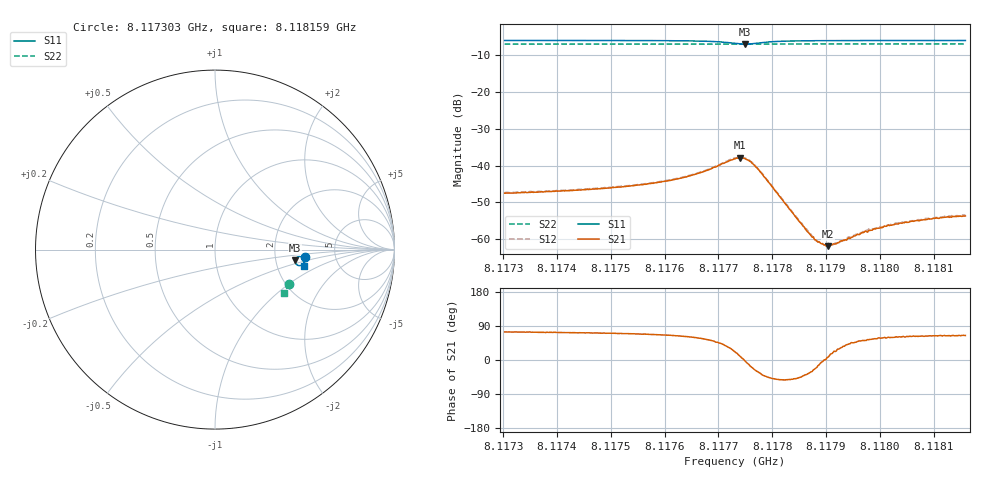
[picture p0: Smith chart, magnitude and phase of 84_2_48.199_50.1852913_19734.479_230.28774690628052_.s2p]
#  HZ  S  RI  R  50.00
! Rohde & Schwarz Vector Network Analyzer
! Rohde-Schwarz,ZNB20-2Port,1311601062101988,3.16
! Created: UTC 3/20/2024, 11:39:48 AM
! freq[Hz]  re:S11  im:S11  re:S21  im:S21  re:S12  im:S12  re:S22  im:S22
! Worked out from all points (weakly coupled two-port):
!   401 points, 8.117303 GHz to 8.118159 GHz, reference 50 ohm
!   highest |S21| = -37.84 dB at 8.11774 GHz (marker M1); lowest = -62.0 dB at 8.117904 GHz (marker M2)
!   lowest |S11| = -6.9 dB at 8.11775 GHz (marker M3), VSWR 2.64, Z = 128 - j19.3 ohm
!   |S11| at or under -10 dB: nowhere
!   |S22| runs from -6.9 to -6.9 dB; largest |S21 - S12| = 0.00049
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8.1173028e9  0.5039 -0.0411  0.00115 0.00405  0.00122 0.00411  0.4099 -0.1893
8.1174462e9  0.5021 -0.0537  0.00147 0.00443  0.00153 0.00452  0.4059 -0.1986
8.1175276e9  0.5003 -0.0619  0.0018 0.00486  0.00192 0.00494  0.4035 -0.2039
8.1175897e9  0.4978 -0.0695  0.00236 0.00544  0.0024 0.00553  0.4017 -0.2079
8.1176303e9  0.4947 -0.0757  0.00303 0.00601  0.00315 0.0061  0.4002 -0.2108
8.1176603e9  0.4904 -0.0813  0.00402 0.00659  0.00416 0.00669  0.3991 -0.2127
8.1177309e9  0.4537 -0.0825  0.0114 0.0045  0.0118 0.00459  0.3954 -0.2166
8.1177395e9  0.4477 -0.0741  0.0126 0.00245  0.0128 0.00233  0.395 -0.2165
8.1177502e9  0.4461 -0.0599  0.0123 -0.000721  0.0125 -0.000867  0.3946 -0.2165
8.1177609e9  0.4523 -0.0473  0.0107 -0.00343  0.0106 -0.00351  0.3949 -0.2167
8.1177759e9  0.4673 -0.0394  0.00717 -0.00475  0.0071 -0.00506  0.3952 -0.2175
8.1178487e9  0.496 -0.0566  0.00121 -0.00131  0.00124 -0.00138  0.394 -0.2228
8.1178744e9  0.4976 -0.0621  0.000913 -0.000536  0.000955 -0.000522  0.3933 -0.2246
8.1178851e9  0.4979 -0.0639  0.000873 -0.000236  0.000893 -0.000235  0.3929 -0.2254
8.1178979e9  0.4982 -0.0662  0.000828 1.05e-05  0.000822 2.9e-05  0.3926 -0.2262
8.1179044e9  0.4984 -0.067  0.000791 0.000112  0.000867 0.000142  0.3924 -0.2266
8.1179236e9  0.4986 -0.0698  0.000776 0.000426  0.00078 0.000429  0.3918 -0.2278
8.1179408e9  0.4985 -0.0721  0.000762 0.000675  0.000826 0.000652  0.3912 -0.2288
8.1179707e9  0.4985 -0.0758  0.000767 0.00097  0.000792 0.000961  0.3902 -0.2308
8.1180178e9  0.4981 -0.0808  0.000775 0.00131  0.000785 0.00132  0.3885 -0.2337
8.1180842e9  0.4973 -0.0871  0.000828 0.00163  0.000907 0.00166  0.3865 -0.2379
8.1181591e9  0.4962 -0.0938  0.000882 0.00186  0.000906 0.00188  0.3839 -0.2425
